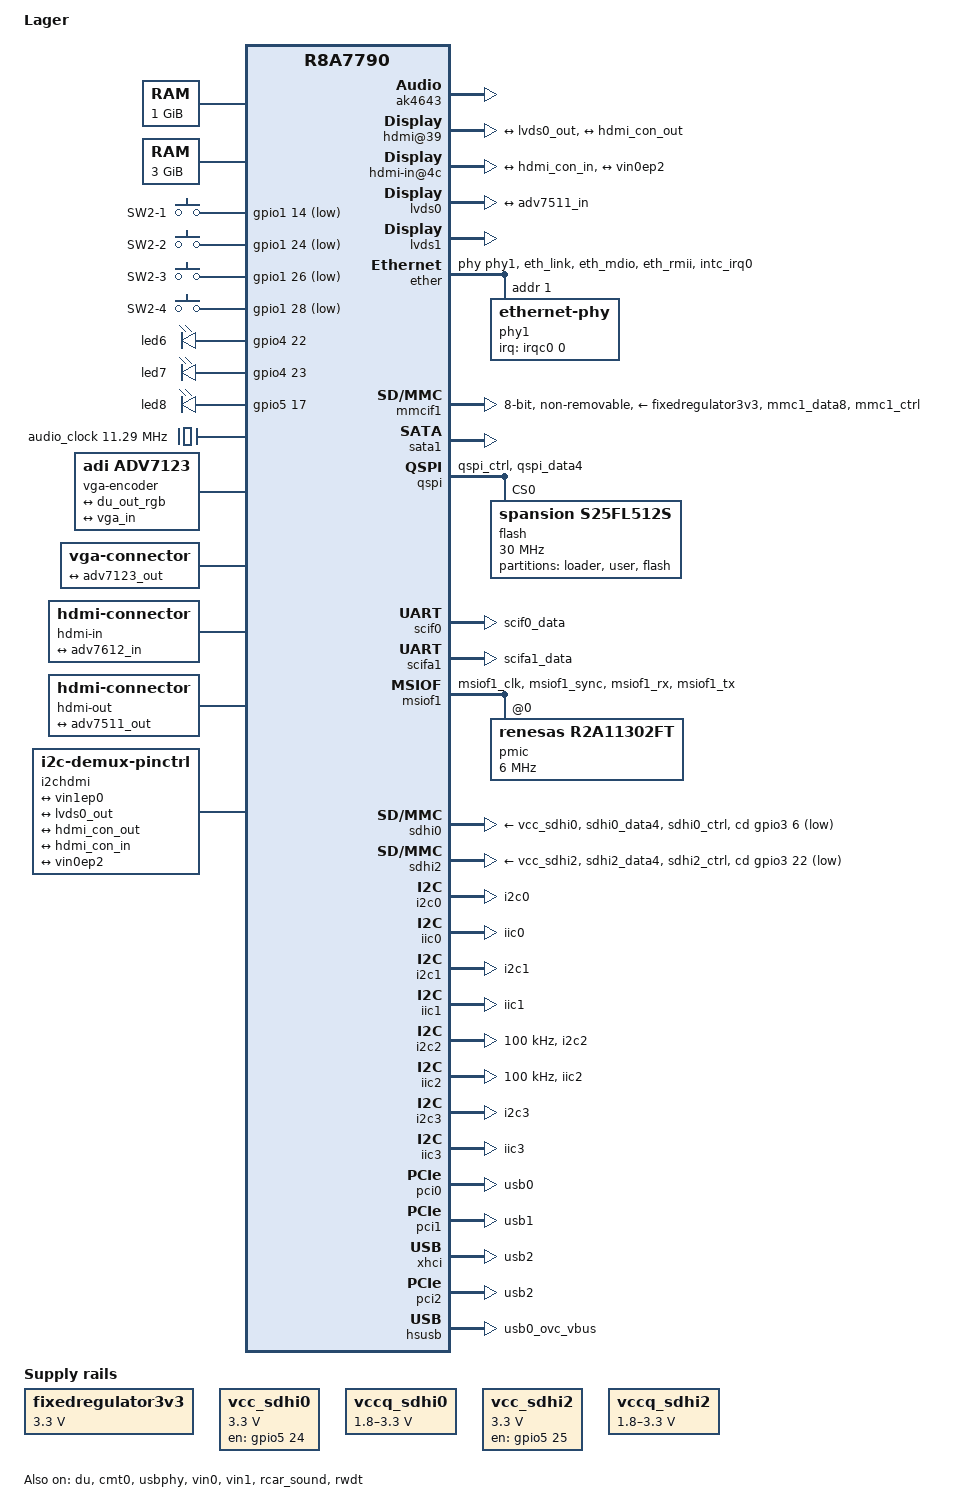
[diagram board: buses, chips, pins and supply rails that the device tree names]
/*
 * Device Tree Source for the Lager board
 *
 * Copyright (C) 2013-2014 Renesas Solutions Corp.
 * Copyright (C) 2014 Cogent Embedded, Inc.
 * Copyright (C) 2015-2016 Renesas Electronics Corporation
 *
 * This file is licensed under the terms of the GNU General Public License
 * version 2.  This program is licensed "as is" without any warranty of any
 * kind, whether express or implied.
 */

/*
 * SSI-AK4643
 *
 * SW1: 1: AK4643
 *      2: CN22
 *      3: ADV7511
 *
 * This command is required when Playback/Capture
 *
 *	amixer set "LINEOUT Mixer DACL" on
 *	amixer set "DVC Out" 100%
 *	amixer set "DVC In" 100%
 *
 * You can use Mute
 *
 *	amixer set "DVC Out Mute" on
 *	amixer set "DVC In Mute" on
 *
 * You can use Volume Ramp
 *
 *	amixer set "DVC Out Ramp Up Rate"   "0.125 dB/64 steps"
 *	amixer set "DVC Out Ramp Down Rate" "0.125 dB/512 steps"
 *	amixer set "DVC Out Ramp" on
 *	aplay xxx.wav &
 *	amixer set "DVC Out"  80%  // Volume Down
 *	amixer set "DVC Out" 100%  // Volume Up
 */

/dts-v1/;
#include "r8a7790.dtsi"
#include <dt-bindings/gpio/gpio.h>
#include <dt-bindings/input/input.h>

/ {
	model = "Lager";
	compatible = "renesas,lager", "renesas,r8a7790";

	aliases {
		serial0 = &scif0;
		serial1 = &scifa1;
		i2c8 = &gpioi2c1;
		i2c9 = &gpioi2c2;
		i2c10 = &i2cexio0;
		i2c11 = &i2cexio1;
		i2c12 = &i2chdmi;
		i2c13 = &i2cpwr;
	};

	chosen {
		bootargs = "ignore_loglevel rw root=/dev/nfs ip=dhcp";
		stdout-path = "serial0:115200n8";
	};

	memory@40000000 {
		device_type = "memory";
		reg = <0 0x40000000 0 0x40000000>;
	};

	memory@140000000 {
		device_type = "memory";
		reg = <1 0x40000000 0 0xc0000000>;
	};

	lbsc {
		#address-cells = <1>;
		#size-cells = <1>;
	};

	keyboard {
		compatible = "gpio-keys";

		one {
			linux,code = <KEY_1>;
			label = "SW2-1";
			wakeup-source;
			debounce-interval = <20>;
			gpios = <&gpio1 14 GPIO_ACTIVE_LOW>;
		};
		two {
			linux,code = <KEY_2>;
			label = "SW2-2";
			wakeup-source;
			debounce-interval = <20>;
			gpios = <&gpio1 24 GPIO_ACTIVE_LOW>;
		};
		three {
			linux,code = <KEY_3>;
			label = "SW2-3";
			wakeup-source;
			debounce-interval = <20>;
			gpios = <&gpio1 26 GPIO_ACTIVE_LOW>;
		};
		four {
			linux,code = <KEY_4>;
			label = "SW2-4";
			wakeup-source;
			debounce-interval = <20>;
			gpios = <&gpio1 28 GPIO_ACTIVE_LOW>;
		};
	};

	leds {
		compatible = "gpio-leds";
		led6 {
			gpios = <&gpio4 22 GPIO_ACTIVE_HIGH>;
		};
		led7 {
			gpios = <&gpio4 23 GPIO_ACTIVE_HIGH>;
		};
		led8 {
			gpios = <&gpio5 17 GPIO_ACTIVE_HIGH>;
		};
	};

	fixedregulator3v3: regulator-3v3 {
		compatible = "regulator-fixed";
		regulator-name = "fixed-3.3V";
		regulator-min-microvolt = <3300000>;
		regulator-max-microvolt = <3300000>;
		regulator-boot-on;
		regulator-always-on;
	};

	vcc_sdhi0: regulator-vcc-sdhi0 {
		compatible = "regulator-fixed";

		regulator-name = "SDHI0 Vcc";
		regulator-min-microvolt = <3300000>;
		regulator-max-microvolt = <3300000>;

		gpio = <&gpio5 24 GPIO_ACTIVE_HIGH>;
		enable-active-high;
	};

	vccq_sdhi0: regulator-vccq-sdhi0 {
		compatible = "regulator-gpio";

		regulator-name = "SDHI0 VccQ";
		regulator-min-microvolt = <1800000>;
		regulator-max-microvolt = <3300000>;

		gpios = <&gpio5 29 GPIO_ACTIVE_HIGH>;
		gpios-states = <1>;
		states = <3300000 1
			  1800000 0>;
	};

	vcc_sdhi2: regulator-vcc-sdhi2 {
		compatible = "regulator-fixed";

		regulator-name = "SDHI2 Vcc";
		regulator-min-microvolt = <3300000>;
		regulator-max-microvolt = <3300000>;

		gpio = <&gpio5 25 GPIO_ACTIVE_HIGH>;
		enable-active-high;
	};

	vccq_sdhi2: regulator-vccq-sdhi2 {
		compatible = "regulator-gpio";

		regulator-name = "SDHI2 VccQ";
		regulator-min-microvolt = <1800000>;
		regulator-max-microvolt = <3300000>;

		gpios = <&gpio5 30 GPIO_ACTIVE_HIGH>;
		gpios-states = <1>;
		states = <3300000 1
			  1800000 0>;
	};

	audio_clock: audio_clock {
		compatible = "fixed-clock";
		#clock-cells = <0>;
		clock-frequency = <11289600>;
	};

	rsnd_ak4643: sound {
		compatible = "simple-audio-card";

		simple-audio-card,format = "left_j";
		simple-audio-card,bitclock-master = <&sndcodec>;
		simple-audio-card,frame-master = <&sndcodec>;

		sndcpu: simple-audio-card,cpu {
			sound-dai = <&rcar_sound>;
		};

		sndcodec: simple-audio-card,codec {
			sound-dai = <&ak4643>;
			clocks = <&audio_clock>;
		};
	};

	vga-encoder {
		compatible = "adi,adv7123";

		ports {
			#address-cells = <1>;
			#size-cells = <0>;

			port@0 {
				reg = <0>;
				adv7123_in: endpoint {
					remote-endpoint = <&du_out_rgb>;
				};
			};
			port@1 {
				reg = <1>;
				adv7123_out: endpoint {
					remote-endpoint = <&vga_in>;
				};
			};
		};
	};

	vga {
		compatible = "vga-connector";

		port {
			vga_in: endpoint {
				remote-endpoint = <&adv7123_out>;
			};
		};
	};

	hdmi-in {
		compatible = "hdmi-connector";
		type = "a";

		port {
			hdmi_con_in: endpoint {
				remote-endpoint = <&adv7612_in>;
			};
		};
	};

	cec_clock: cec-clock {
		compatible = "fixed-clock";
		#clock-cells = <0>;
		clock-frequency = <12000000>;
	};

	hdmi-out {
		compatible = "hdmi-connector";
		type = "a";

		port {
			hdmi_con_out: endpoint {
				remote-endpoint = <&adv7511_out>;
			};
		};
	};

	x2_clk: x2-clock {
		compatible = "fixed-clock";
		#clock-cells = <0>;
		clock-frequency = <148500000>;
	};

	x13_clk: x13-clock {
		compatible = "fixed-clock";
		#clock-cells = <0>;
		clock-frequency = <148500000>;
	};

	gpioi2c1: i2c-8 {
		#address-cells = <1>;
		#size-cells = <0>;
		compatible = "i2c-gpio";
		status = "disabled";
		scl-gpios = <&gpio1 16 (GPIO_ACTIVE_HIGH | GPIO_OPEN_DRAIN)>;
		sda-gpios = <&gpio1 17 (GPIO_ACTIVE_HIGH | GPIO_OPEN_DRAIN)>;
		i2c-gpio,delay-us = <5>;
	};

	gpioi2c2: i2c-9 {
		#address-cells = <1>;
		#size-cells = <0>;
		compatible = "i2c-gpio";
		status = "disabled";
		scl-gpios = <&gpio5 5 (GPIO_ACTIVE_HIGH | GPIO_OPEN_DRAIN)>;
		sda-gpios = <&gpio5 6 (GPIO_ACTIVE_HIGH | GPIO_OPEN_DRAIN)>;
		i2c-gpio,delay-us = <5>;
	};

	/*
	 * IIC0/I2C0 is routed to EXIO connector A, pins 114 (SCL) + 116 (SDA) only.
	 * We use the I2C demuxer, so the desired IP core can be selected at runtime
	 * depending on the use case (e.g. DMA with IIC0 or slave support with I2C0).
	 * Note: For testing the I2C slave feature, it is convenient to connect this
	 * bus with IIC3 on pins 110 (SCL) + 112 (SDA), select I2C0 at runtime, and
	 * instantiate the slave device at runtime according to the documentation.
	 * You can then communicate with the slave via IIC3.
	 *
	 * IIC0/I2C0 does not appear to support fallback to GPIO.
	 */
	i2cexio0: i2c-10 {
		compatible = "i2c-demux-pinctrl";
		i2c-parent = <&iic0>, <&i2c0>;
		i2c-bus-name = "i2c-exio0";
		#address-cells = <1>;
		#size-cells = <0>;
	};

	/*
	 * IIC1/I2C1 is routed to EXIO connector A, pins 78 (SCL) + 80 (SDA).
	 * This is similar to the arangement described for i2cexio0 (above)
	 * with a fallback to GPIO also provided.
	 */
	i2cexio1: i2c-11 {
		compatible = "i2c-demux-pinctrl";
		i2c-parent = <&iic1>, <&i2c1>, <&gpioi2c1>;
		i2c-bus-name = "i2c-exio1";
		#address-cells = <1>;
		#size-cells = <0>;
	};

        /*
         * IIC2 and I2C2 may be switched using pinmux.
         * A fallback to GPIO is also provided.
         */
	i2chdmi: i2c-12 {
		compatible = "i2c-demux-pinctrl";
		i2c-parent = <&iic2>, <&i2c2>, <&gpioi2c2>;
		i2c-bus-name = "i2c-hdmi";
		#address-cells = <1>;
		#size-cells = <0>;

		ak4643: codec@12 {
			compatible = "asahi-kasei,ak4643";
			#sound-dai-cells = <0>;
			reg = <0x12>;
		};

		composite-in@20 {
			compatible = "adi,adv7180";
			reg = <0x20>;
			remote = <&vin1>;

			port {
				adv7180: endpoint {
					bus-width = <8>;
					remote-endpoint = <&vin1ep0>;
				};
			};
		};

		hdmi@39 {
			compatible = "adi,adv7511w";
			reg = <0x39>;
			interrupt-parent = <&gpio1>;
			interrupts = <15 IRQ_TYPE_LEVEL_LOW>;
			clocks = <&cec_clock>;
			clock-names = "cec";

			adi,input-depth = <8>;
			adi,input-colorspace = "rgb";
			adi,input-clock = "1x";
			adi,input-style = <1>;
			adi,input-justification = "evenly";

			ports {
				#address-cells = <1>;
				#size-cells = <0>;

				port@0 {
					reg = <0>;
					adv7511_in: endpoint {
						remote-endpoint = <&lvds0_out>;
					};
				};

				port@1 {
					reg = <1>;
					adv7511_out: endpoint {
						remote-endpoint = <&hdmi_con_out>;
					};
				};
			};
		};

		hdmi-in@4c {
			compatible = "adi,adv7612";
			reg = <0x4c>;
			interrupt-parent = <&gpio1>;
			interrupts = <20 IRQ_TYPE_LEVEL_LOW>;
			default-input = <0>;

			ports {
				#address-cells = <1>;
				#size-cells = <0>;

				port@0 {
					reg = <0>;
					adv7612_in: endpoint {
						remote-endpoint = <&hdmi_con_in>;
					};
				};

				port@2 {
					reg = <2>;
					adv7612_out: endpoint {
						remote-endpoint = <&vin0ep2>;
					};
				};
			};
		};
	};

	/*
	 * IIC3 and I2C3 may be switched using pinmux.
	 * IIC3/I2C3 does not appear to support fallback to GPIO.
	 */
	i2cpwr: i2c-13 {
		compatible = "i2c-demux-pinctrl";
		i2c-parent = <&iic3>, <&i2c3>;
		i2c-bus-name = "i2c-pwr";
		#address-cells = <1>;
		#size-cells = <0>;

		pmic@58 {
			compatible = "dlg,da9063";
			reg = <0x58>;
			interrupt-parent = <&irqc0>;
			interrupts = <2 IRQ_TYPE_LEVEL_LOW>;
			interrupt-controller;

			rtc {
				compatible = "dlg,da9063-rtc";
			};

			wdt {
				compatible = "dlg,da9063-watchdog";
			};
		};

		vdd_dvfs: regulator@68 {
			compatible = "dlg,da9210";
			reg = <0x68>;
			interrupt-parent = <&irqc0>;
			interrupts = <2 IRQ_TYPE_LEVEL_LOW>;

			regulator-min-microvolt = <1000000>;
			regulator-max-microvolt = <1000000>;
			regulator-boot-on;
			regulator-always-on;
		};
	};
};

&du {
	pinctrl-0 = <&du_pins>;
	pinctrl-names = "default";
	status = "okay";

	clocks = <&cpg CPG_MOD 724>, <&cpg CPG_MOD 723>, <&cpg CPG_MOD 722>,
		 <&x13_clk>, <&x2_clk>;
	clock-names = "du.0", "du.1", "du.2", "dclkin.0", "dclkin.1";

	ports {
		port@0 {
			endpoint {
				remote-endpoint = <&adv7123_in>;
			};
		};
	};
};

&lvds0 {
	status = "okay";

	ports {
		port@1 {
			endpoint {
				remote-endpoint = <&adv7511_in>;
			};
		};
	};
};

&lvds1 {
	status = "okay";

	ports {
		port@1 {
			lvds_connector: endpoint {
			};
		};
	};
};

&extal_clk {
	clock-frequency = <20000000>;
};

&pfc {
	pinctrl-0 = <&scif_clk_pins>;
	pinctrl-names = "default";

	du_pins: du {
		groups = "du_rgb666", "du_sync_1", "du_clk_out_0";
		function = "du";
	};

	scif0_pins: scif0 {
		groups = "scif0_data";
		function = "scif0";
	};

	scif_clk_pins: scif_clk {
		groups = "scif_clk";
		function = "scif_clk";
	};

	ether_pins: ether {
		groups = "eth_link", "eth_mdio", "eth_rmii";
		function = "eth";
	};

	phy1_pins: phy1 {
		groups = "intc_irq0";
		function = "intc";
	};

	scifa1_pins: scifa1 {
		groups = "scifa1_data";
		function = "scifa1";
	};

	sdhi0_pins: sd0 {
		groups = "sdhi0_data4", "sdhi0_ctrl";
		function = "sdhi0";
		power-source = <3300>;
	};

	sdhi0_pins_uhs: sd0_uhs {
		groups = "sdhi0_data4", "sdhi0_ctrl";
		function = "sdhi0";
		power-source = <1800>;
	};

	sdhi2_pins: sd2 {
		groups = "sdhi2_data4", "sdhi2_ctrl";
		function = "sdhi2";
		power-source = <3300>;
	};

	sdhi2_pins_uhs: sd2_uhs {
		groups = "sdhi2_data4", "sdhi2_ctrl";
		function = "sdhi2";
		power-source = <1800>;
	};

	mmc1_pins: mmc1 {
		groups = "mmc1_data8", "mmc1_ctrl";
		function = "mmc1";
	};

	qspi_pins: qspi {
		groups = "qspi_ctrl", "qspi_data4";
		function = "qspi";
	};

	msiof1_pins: msiof1 {
		groups = "msiof1_clk", "msiof1_sync", "msiof1_rx",
				 "msiof1_tx";
		function = "msiof1";
	};

	i2c0_pins: i2c0 {
		groups = "i2c0";
		function = "i2c0";
	};

	iic0_pins: iic0 {
		groups = "iic0";
		function = "iic0";
	};

	i2c1_pins: i2c1 {
		groups = "i2c1";
		function = "i2c1";
	};

	iic1_pins: iic1 {
		groups = "iic1";
		function = "iic1";
	};

	i2c2_pins: i2c2 {
		groups = "i2c2";
		function = "i2c2";
	};

	iic2_pins: iic2 {
		groups = "iic2";
		function = "iic2";
	};

	i2c3_pins: i2c3 {
		groups = "i2c3";
		function = "i2c3";
	};

	iic3_pins: iic3 {
		groups = "iic3";
		function = "iic3";
	};

	hsusb_pins: hsusb {
		groups = "usb0_ovc_vbus";
		function = "usb0";
	};

	usb0_pins: usb0 {
		groups = "usb0";
		function = "usb0";
	};

	usb1_pins: usb1 {
		groups = "usb1";
		function = "usb1";
	};

	usb2_pins: usb2 {
		groups = "usb2";
		function = "usb2";
	};

	vin0_pins: vin0 {
		groups = "vin0_data24", "vin0_sync", "vin0_clkenb", "vin0_clk";
		function = "vin0";
	};

	vin1_pins: vin1 {
		groups = "vin1_data8", "vin1_clk";
		function = "vin1";
	};

	sound_pins: sound {
		groups = "ssi0129_ctrl", "ssi0_data", "ssi1_data";
		function = "ssi";
	};

	sound_clk_pins: sound_clk {
		groups = "audio_clk_a";
		function = "audio_clk";
	};
};

&ether {
	pinctrl-0 = <&ether_pins &phy1_pins>;
	pinctrl-names = "default";

	phy-handle = <&phy1>;
	renesas,ether-link-active-low;
	status = "okay";

	phy1: ethernet-phy@1 {
		reg = <1>;
		interrupt-parent = <&irqc0>;
		interrupts = <0 IRQ_TYPE_LEVEL_LOW>;
		micrel,led-mode = <1>;
	};
};

&cmt0 {
	status = "okay";
};

&mmcif1 {
	pinctrl-0 = <&mmc1_pins>;
	pinctrl-names = "default";

	vmmc-supply = <&fixedregulator3v3>;
	bus-width = <8>;
	non-removable;
	status = "okay";
};

&sata1 {
	status = "okay";
};

&qspi {
	pinctrl-0 = <&qspi_pins>;
	pinctrl-names = "default";

	status = "okay";

	flash: flash@0 {
		compatible = "spansion,s25fl512s", "jedec,spi-nor";
		reg = <0>;
		spi-max-frequency = <30000000>;
		spi-tx-bus-width = <4>;
		spi-rx-bus-width = <4>;
		spi-cpha;
		spi-cpol;
		m25p,fast-read;

		partitions {
			compatible = "fixed-partitions";
			#address-cells = <1>;
			#size-cells = <1>;

			partition@0 {
				label = "loader";
				reg = <0x00000000 0x00040000>;
				read-only;
			};
			partition@40000 {
				label = "user";
				reg = <0x00040000 0x00400000>;
				read-only;
			};
			partition@440000 {
				label = "flash";
				reg = <0x00440000 0x03bc0000>;
			};
		};
	};
};

&scif0 {
	pinctrl-0 = <&scif0_pins>;
	pinctrl-names = "default";

	status = "okay";
};

&scifa1 {
	pinctrl-0 = <&scifa1_pins>;
	pinctrl-names = "default";

	status = "okay";
};

&scif_clk {
	clock-frequency = <14745600>;
};

&msiof1 {
	pinctrl-0 = <&msiof1_pins>;
	pinctrl-names = "default";

	status = "okay";

	pmic: pmic@0 {
		compatible = "renesas,r2a11302ft";
		reg = <0>;
		spi-max-frequency = <6000000>;
		spi-cpol;
		spi-cpha;
	};
};

&sdhi0 {
	pinctrl-0 = <&sdhi0_pins>;
	pinctrl-1 = <&sdhi0_pins_uhs>;
	pinctrl-names = "default", "state_uhs";

	vmmc-supply = <&vcc_sdhi0>;
	vqmmc-supply = <&vccq_sdhi0>;
	cd-gpios = <&gpio3 6 GPIO_ACTIVE_LOW>;
	sd-uhs-sdr50;
	sd-uhs-sdr104;
	status = "okay";
};

&sdhi2 {
	pinctrl-0 = <&sdhi2_pins>;
	pinctrl-1 = <&sdhi2_pins_uhs>;
	pinctrl-names = "default", "state_uhs";

	vmmc-supply = <&vcc_sdhi2>;
	vqmmc-supply = <&vccq_sdhi2>;
	cd-gpios = <&gpio3 22 GPIO_ACTIVE_LOW>;
	sd-uhs-sdr50;
	status = "okay";
};

&cpu0 {
	cpu0-supply = <&vdd_dvfs>;
};

&i2c0	{
	pinctrl-0 = <&i2c0_pins>;
	pinctrl-names = "i2c-exio0";
};

&iic0	{
	pinctrl-0 = <&iic0_pins>;
	pinctrl-names = "i2c-exio0";
};

&i2c1	{
	pinctrl-0 = <&i2c1_pins>;
	pinctrl-names = "i2c-exio1";
};

&iic1	{
	pinctrl-0 = <&iic1_pins>;
	pinctrl-names = "i2c-exio1";
};

&i2c2	{
	pinctrl-0 = <&i2c2_pins>;
	pinctrl-names = "i2c-hdmi";

	clock-frequency = <100000>;
};

&iic2	{
	pinctrl-0 = <&iic2_pins>;
	pinctrl-names = "i2c-hdmi";

	clock-frequency = <100000>;
};

&i2c3	{
	pinctrl-0 = <&i2c3_pins>;
	pinctrl-names = "i2c-pwr";
};

&iic3	{
	pinctrl-0 = <&iic3_pins>;
	pinctrl-names = "i2c-pwr";
};

&pci0 {
	status = "okay";
	pinctrl-0 = <&usb0_pins>;
	pinctrl-names = "default";
};

&pci1 {
	status = "okay";
	pinctrl-0 = <&usb1_pins>;
	pinctrl-names = "default";
};

&xhci {
	status = "okay";
	pinctrl-0 = <&usb2_pins>;
	pinctrl-names = "default";
};

&pci2 {
	status = "okay";
	pinctrl-0 = <&usb2_pins>;
	pinctrl-names = "default";
};

&hsusb {
	status = "okay";
	pinctrl-0 = <&hsusb_pins>;
	pinctrl-names = "default";
	renesas,enable-gpio = <&gpio5 18 GPIO_ACTIVE_HIGH>;
};

&usbphy {
	status = "okay";
};

/* HDMI video input */
&vin0 {
	pinctrl-0 = <&vin0_pins>;
	pinctrl-names = "default";

	status = "okay";

	port {
		vin0ep2: endpoint {
			remote-endpoint = <&adv7612_out>;
			bus-width = <24>;
			hsync-active = <0>;
			vsync-active = <0>;
			pclk-sample = <1>;
			data-active = <1>;
		};
	};
};

/* composite video input */
&vin1 {
	pinctrl-0 = <&vin1_pins>;
	pinctrl-names = "default";

	status = "okay";

	port {
		vin1ep0: endpoint {
			remote-endpoint = <&adv7180>;
			bus-width = <8>;
		};
	};
};

&rcar_sound {
	pinctrl-0 = <&sound_pins &sound_clk_pins>;
	pinctrl-names = "default";

	/* Single DAI */
	#sound-dai-cells = <0>;

	status = "okay";

	rcar_sound,dai {
		dai0 {
			playback = <&ssi0 &src2 &dvc0>;
			capture  = <&ssi1 &src3 &dvc1>;
		};
	};
};

&rwdt {
	timeout-sec = <60>;
	status = "okay";
};

&ssi1 {
	shared-pin;
};
